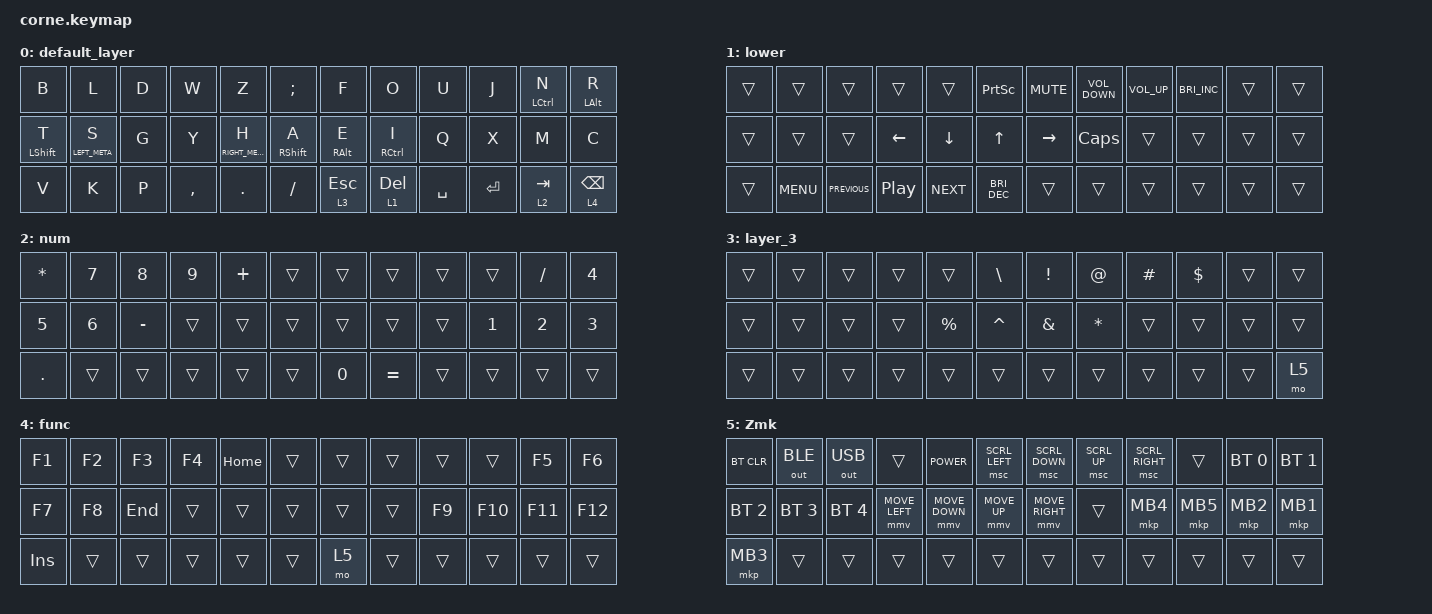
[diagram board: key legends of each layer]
/*
 * Copyright (c) 2020 The ZMK Contributors
 *
 * SPDX-License-Identifier: MIT
 */

#include <behaviors.dtsi>
#include <dt-bindings/zmk/bt.h>
#include <dt-bindings/zmk/keys.h>
#include <dt-bindings/zmk/outputs.h>
#include <dt-bindings/zmk/pointing.h>

/ {
    chosen { zmk,matrix-transform = &five_column_transform; };

    behaviors {
        hml: hml {
            compatible = "zmk,behavior-hold-tap";
            label = "HML";
            bindings = <&kp>, <&kp>;

            #binding-cells = <2>;
            flavor = "balanced";
            tapping-term-ms = <250>;
            require-prior-idle-ms = <150>;
            quick-tap-ms = <175>;

            // Positions updated for 3x5 (0-29 for main keys, 30-35 for thumbs)

            hold-trigger-key-positions = <5 6 7 8 9 15 16 17 18 19 25 26 27 28 29 33 34 35>;
            hold-trigger-on-release;
        };

        hmr: hmr {
            compatible = "zmk,behavior-hold-tap";
            label = "HMR";
            bindings = <&kp>, <&kp>;

            #binding-cells = <2>;
            tapping-term-ms = <250>;
            quick-tap-ms = <175>;
            require-prior-idle-ms = <150>;
            flavor = "balanced";
            hold-trigger-key-positions = <0 1 2 3 4 10 11 12 13 14 20 21 22 23 24 30 31 32>;
            hold-trigger-on-release;
        };
    };

    combos {
        compatible = "zmk,combos";

        // Combos generally work by physical index.
        // In 3x5, indices change slightly. If your combos feel "off,"
        // we can recalibrate these numbers.

        Undo {
            bindings = <&kp LC(Z)>;
            key-positions = <20 21>;
        };

        copy {
            bindings = <&kp LC(C)>;
            key-positions = <21 22>;
        };

        paste {
            bindings = <&kp LC(V)>;
            key-positions = <22 23>;
        };

        super {
            bindings = <&kp LEFT_GUI>;
            key-positions = <16 13>;
        };

        left_par {
            bindings = <&kp LEFT_PARENTHESIS>;
            key-positions = <16 17>;
        };

        right_par {
            bindings = <&kp RIGHT_PARENTHESIS>;
            key-positions = <17 18>;
        };

        left_braces {
            bindings = <&kp LEFT_BRACE>;
            key-positions = <6 7>;
        };

        right_braces {
            bindings = <&kp RIGHT_BRACE>;
            key-positions = <7 8>;
        };

        left_bracket {
            bindings = <&kp LEFT_BRACKET>;
            key-positions = <26 27>;
        };

        right_bracket {
            bindings = <&kp RIGHT_BRACKET>;
            key-positions = <27 28>;
        };

        plus {
            bindings = <&kp PLUS>;
            key-positions = <3 2>;
        };

        equal {
            bindings = <&kp EQUAL>;
            key-positions = <12 13>;
        };

        hyphen {
            bindings = <&kp MINUS>;
            key-positions = <2 1>;
        };

        underscore {
            bindings = <&kp UNDERSCORE>;
            key-positions = <11 12>;
        };

        grave {
            bindings = <&kp GRAVE>;
            key-positions = <0 1>;
        };

        tilde {
            bindings = <&kp TILDE>;
            key-positions = <10 11>;
        };

        pipe {
            bindings = <&kp PIPE>;
            key-positions = <8 9>;
        };

        sqt {
            bindings = <&kp SQT>;
            key-positions = <18 19>;
        };

        dqt {
            bindings = <&kp DQT>;
            key-positions = <28 29>;
        };
    };

    keymap {
        compatible = "zmk,keymap";

        default_layer {
            // Graphite 3x5 Layout

            bindings = <
&kp B              &kp L             &kp D  &kp W      &kp Z              &kp SEMI         &kp F             &kp O         &kp U      &kp J      &hml LCTRL N  &hml LEFT_ALT R
&hml LEFT_SHIFT T  &hml LEFT_META S  &kp G  &kp Y      &hmr RIGHT_META H  &hmr RSHIFT A    &hmr RIGHT_ALT E  &hmr RCTRL I  &kp Q      &kp X      &kp M         &kp C
&kp V              &kp K             &kp P  &kp COMMA  &kp DOT            &kp FSLH         &lt 3 ESCAPE      &lt 1 DELETE  &kp SPACE  &kp ENTER  &lt 2 TAB     &lt 4 BACKSPACE
            >;
        };

        lower {
            bindings = <
&trans  &trans      &trans          &trans            &trans      &kp PRINTSCREEN         &kp C_MUTE  &kp C_VOLUME_DOWN  &kp C_VOLUME_UP  &kp C_BRIGHTNESS_INC  &trans  &trans
&trans  &trans      &trans          &kp LEFT          &kp DOWN    &kp UP                  &kp RIGHT   &kp CAPS           &trans           &trans                &trans  &trans
&trans  &kp C_MENU  &kp C_PREVIOUS  &kp C_PLAY_PAUSE  &kp C_NEXT  &kp C_BRIGHTNESS_DEC    &trans      &trans             &trans           &trans                &trans  &trans
            >;
        };

        num {
            bindings = <
&kp ASTERISK  &kp N7  &kp N8     &kp N9  &kp PLUS  &trans    &trans  &trans     &trans  &trans  &kp SLASH  &kp N4
&kp N5        &kp N6  &kp MINUS  &trans  &trans    &trans    &trans  &trans     &trans  &kp N1  &kp N2     &kp N3
&kp DOT       &trans  &trans     &trans  &trans    &trans    &kp N0  &kp EQUAL  &trans  &trans  &trans     &trans
            >;
        };

        layer_3 {
            bindings = <
&trans  &trans  &trans  &trans  &trans       &kp BSLH     &kp EXCLAMATION  &kp AT_SIGN   &kp HASH  &kp DOLLAR  &trans  &trans
&trans  &trans  &trans  &trans  &kp PERCENT  &kp CARET    &kp AMPERSAND    &kp ASTERISK  &trans    &trans      &trans  &trans
&trans  &trans  &trans  &trans  &trans       &trans       &trans           &trans        &trans    &trans      &trans  &mo 5
            >;
        };

        func {
            bindings = <
&kp F1      &kp F2  &kp F3   &kp F4  &kp HOME  &trans    &trans  &trans  &trans  &trans   &kp F5   &kp F6
&kp F7      &kp F8  &kp END  &trans  &trans    &trans    &trans  &trans  &kp F9  &kp F10  &kp F11  &kp F12
&kp INSERT  &trans  &trans   &trans  &trans    &trans    &mo 5   &trans  &trans  &trans   &trans   &trans
            >;
        };

        Zmk {
            bindings = <
&bt BT_CLR    &out OUT_BLE  &out OUT_USB  &trans          &kp C_POWER     &msc SCRL_LEFT    &msc SCRL_DOWN   &msc SCRL_UP  &msc SCRL_RIGHT  &trans    &bt BT_SEL 0  &bt BT_SEL 1
&bt BT_SEL 2  &bt BT_SEL 3  &bt BT_SEL 4  &mmv MOVE_LEFT  &mmv MOVE_DOWN  &mmv MOVE_UP      &mmv MOVE_RIGHT  &trans        &mkp MB4         &mkp MB5  &mkp MB2      &mkp MB1
&mkp MB3      &trans        &trans        &trans          &trans          &trans            &trans           &trans        &trans           &trans    &trans        &trans
            >;
        };
    };
};
